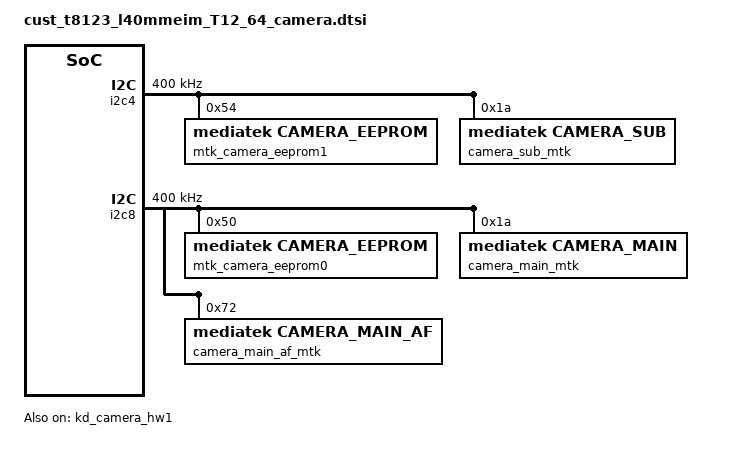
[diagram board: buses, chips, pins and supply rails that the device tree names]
// SPDX-License-Identifier: GPL-2.0
/* Copyright (c) 2020 MediaTek Inc. */
/* CAMERA GPIO standardization */
&pio {
	camera_pins_cam0_rst_0: camera_pins_cam0_rst_0 {
		pins_cmd_dat {
			pinmux = <PINMUX_GPIO20__FUNC_GPIO20>;
			slew-rate = <1>;
			output-low;
		};
	};
	camera_pins_cam0_rst_1: camera_pins_cam0_rst_1 {
		pins_cmd_dat {
			pinmux = <PINMUX_GPIO20__FUNC_GPIO20>;
			slew-rate = <1>;
			output-high;
		};
	};
	camera_pins_cam0_pnd_0: camera_pins_cam0_pnd_0 {
		pins_cmd_dat {
			pinmux = <PINMUX_GPIO15__FUNC_GPIO15>;
			slew-rate = <1>;
			output-low;
		};
	};
	camera_pins_cam0_pnd_1: camera_pins_cam0_pnd_1 {
		pins_cmd_dat {
			pinmux = <PINMUX_GPIO15__FUNC_GPIO15>;
			slew-rate = <1>;
			output-high;
		};
	};
	camera_pins_cam0_vcama_0: camera_pins_cam0_vcama_0 {
		pins_cmd_dat {
			pinmux = <PINMUX_GPIO151__FUNC_GPIO151>;
			slew-rate = <1>;
			output-low;
		};
	};
	camera_pins_cam0_vcama_1: camera_pins_cam0_vcama_1 {
		pins_cmd_dat {
			pinmux = <PINMUX_GPIO151__FUNC_GPIO151>;
			slew-rate = <1>;
			output-high;
		};
	};
	camera_pins_cam0_vcamd_0: camera_pins_cam0_vcamd_0 {
		pins_cmd_dat {
			pinmux = <PINMUX_GPIO157__FUNC_GPIO157>;
			slew-rate = <1>;
			output-low;
		};
	};
	camera_pins_cam0_vcamd_1: camera_pins_cam0_vcamd_1 {
		pins_cmd_dat {
			pinmux = <PINMUX_GPIO157__FUNC_GPIO157>;
			slew-rate = <1>;
			output-high;
		};
	};
	camera_pins_cam0_vcamio_0: camera_pins_cam0_vcamio_0 {
		pins_cmd_dat {
			pinmux = <PINMUX_GPIO156__FUNC_GPIO156>;
			slew-rate = <1>;
			output-low;
		};
	};
	camera_pins_cam0_vcamio_1: camera_pins_cam0_vcamio_1 {
		pins_cmd_dat {
			pinmux = <PINMUX_GPIO156__FUNC_GPIO156>;
			slew-rate = <1>;
			output-high;
		};
	};
	camera_pins_cam1_rst_0: camera_pins_cam1_rst_0 {
		pins_cmd_dat {
			pinmux = <PINMUX_GPIO16__FUNC_GPIO16>;
			slew-rate = <1>;
			output-low;
		};
	};
	camera_pins_cam1_rst_1: camera_pins_cam1_rst_1 {
		pins_cmd_dat {
			pinmux = <PINMUX_GPIO16__FUNC_GPIO16>;
			slew-rate = <1>;
			output-high;
		};
	};
	camera_pins_cam1_pnd_0: camera_pins_cam1_pnd_0 {
		pins_cmd_dat {
			pinmux = <PINMUX_GPIO19__FUNC_GPIO19>;
			slew-rate = <1>;
			output-low;
		};
	};
	camera_pins_cam1_pnd_1: camera_pins_cam1_pnd_1 {
		pins_cmd_dat {
			pinmux = <PINMUX_GPIO19__FUNC_GPIO19>;
			slew-rate = <1>;
			output-high;
		};
	};
	camera_pins_cam1_vcama_0: camera_pins_cam1_vcama_0 {
		pins_cmd_dat {
			pinmux = <PINMUX_GPIO151__FUNC_GPIO151>;
			slew-rate = <1>;
			output-low;
		};
	};
	camera_pins_cam1_vcama_1: camera_pins_cam1_vcama_1 {
		pins_cmd_dat {
			pinmux = <PINMUX_GPIO151__FUNC_GPIO151>;
			slew-rate = <1>;
			output-high;
		};
	};
	camera_pins_cam1_vcamd_0: camera_pins_cam1_vcamd_0 {
		pins_cmd_dat {
			pinmux = <PINMUX_GPIO158__FUNC_GPIO158>;
			slew-rate = <1>;
			output-low;
		};
	};
	camera_pins_cam1_vcamd_1: camera_pins_cam1_vcamd_1 {
		pins_cmd_dat {
			pinmux = <PINMUX_GPIO158__FUNC_GPIO158>;
			slew-rate = <1>;
			output-high;
		};
	};
	camera_pins_cam1_vcamio_0: camera_pins_cam1_vcamio_0 {
		pins_cmd_dat {
			pinmux = <PINMUX_GPIO156__FUNC_GPIO156>;
			slew-rate = <1>;
			output-low;
		};
	};
	camera_pins_cam1_vcamio_1: camera_pins_cam1_vcamio_1 {
		pins_cmd_dat {
			pinmux = <PINMUX_GPIO156__FUNC_GPIO156>;
			slew-rate = <1>;
			output-high;
		};
	};
	camera_pins_cam0_mclk_off: camera_pins_cam0_mclk_off {
		pins_cmd_dat {
			pinmux = <PINMUX_GPIO128__FUNC_GPIO128>;
			drive-strength = <1>;
		};
	};
	camera_pins_cam0_mclk_2ma: camera_pins_cam0_mclk_2ma {
		pins_cmd_dat {
			pinmux = <PINMUX_GPIO128__FUNC_CMMCLK2>;
			drive-strength = <0>;
		};
	};
	camera_pins_cam0_mclk_4ma: camera_pins_cam0_mclk_4ma {
		pins_cmd_dat {
			pinmux = <PINMUX_GPIO128__FUNC_CMMCLK2>;
			drive-strength = <1>;
		};
	};
	camera_pins_cam0_mclk_6ma: camera_pins_cam0_mclk_6ma {
		pins_cmd_dat {
			pinmux = <PINMUX_GPIO128__FUNC_CMMCLK2>;
			drive-strength = <2>;
		};
	};
	camera_pins_cam0_mclk_8ma: camera_pins_cam0_mclk_8ma {
		pins_cmd_dat {
			pinmux = <PINMUX_GPIO128__FUNC_CMMCLK2>;
			drive-strength = <3>;
		};
	};
	camera_pins_cam1_mclk_off: camera_pins_cam1_mclk_off {
		pins_cmd_dat {
			pinmux = <PINMUX_GPIO126__FUNC_GPIO126>;
			drive-strength = <1>;
		};
	};
	camera_pins_cam1_mclk_2ma: camera_pins_cam1_mclk_2ma {
		pins_cmd_dat {
			pinmux = <PINMUX_GPIO126__FUNC_CMMCLK0>;
			drive-strength = <0>;
		};
	};
	camera_pins_cam1_mclk_4ma: camera_pins_cam1_mclk_4ma {
		pins_cmd_dat {
			pinmux = <PINMUX_GPIO126__FUNC_CMMCLK0>;
			drive-strength = <1>;
		};
	};
	camera_pins_cam1_mclk_6ma: camera_pins_cam1_mclk_6ma {
		pins_cmd_dat {
			pinmux = <PINMUX_GPIO126__FUNC_CMMCLK0>;
			drive-strength = <2>;
		};
	};
	camera_pins_cam1_mclk_8ma: camera_pins_cam1_mclk_8ma {
		pins_cmd_dat {
			pinmux = <PINMUX_GPIO126__FUNC_CMMCLK0>;
			drive-strength = <3>;
		};
	};
	camera_pins_default: camdefault {
	};
};
&kd_camera_hw1 {
	pinctrl-names = "default",
			"cam0_rst0", "cam0_rst1",
			"cam0_pnd0", "cam0_pnd1",
			"cam1_rst0", "cam1_rst1",
			"cam1_pnd0", "cam1_pnd1",
			"cam0_mclk_off",
			"cam0_mclk_2mA", "cam0_mclk_4mA",
			"cam0_mclk_6mA", "cam0_mclk_8mA",
			"cam1_mclk_off",
			"cam1_mclk_2mA", "cam1_mclk_4mA",
			"cam1_mclk_6mA", "cam1_mclk_8mA",
			"cam0_ldo_vcama_0", "cam0_ldo_vcama_1",
			"cam0_ldo_vcamd_0", "cam0_ldo_vcamd_1",
			"cam0_ldo_vcamio_0", "cam0_ldo_vcamio_1",
			"cam1_ldo_vcama_0", "cam1_ldo_vcama_1",
			"cam1_ldo_vcamd_0", "cam1_ldo_vcamd_1",
			"cam1_ldo_vcamio_0", "cam1_ldo_vcamio_1";

	pinctrl-0 = <&camera_pins_default>;
	pinctrl-1 = <&camera_pins_cam0_rst_0>;
	pinctrl-2 = <&camera_pins_cam0_rst_1>;
	pinctrl-3 = <&camera_pins_cam0_pnd_0>;
	pinctrl-4 = <&camera_pins_cam0_pnd_1>;
	pinctrl-5 = <&camera_pins_cam1_rst_0>;
	pinctrl-6 = <&camera_pins_cam1_rst_1>;
	pinctrl-7 = <&camera_pins_cam1_pnd_0>;
	pinctrl-8 = <&camera_pins_cam1_pnd_1>;
	pinctrl-9 = <&camera_pins_cam0_mclk_off>;
	pinctrl-10 = <&camera_pins_cam0_mclk_2ma>;
	pinctrl-11 = <&camera_pins_cam0_mclk_4ma>;
	pinctrl-12 = <&camera_pins_cam0_mclk_6ma>;
	pinctrl-13 = <&camera_pins_cam0_mclk_8ma>;
	pinctrl-14 = <&camera_pins_cam1_mclk_off>;
	pinctrl-15 = <&camera_pins_cam1_mclk_2ma>;
	pinctrl-16 = <&camera_pins_cam1_mclk_4ma>;
	pinctrl-17 = <&camera_pins_cam1_mclk_6ma>;
	pinctrl-18 = <&camera_pins_cam1_mclk_8ma>;
	pinctrl-19 = <&camera_pins_cam0_vcama_0>;
	pinctrl-20 = <&camera_pins_cam0_vcama_1>;
	pinctrl-21 = <&camera_pins_cam0_vcamd_0>;
	pinctrl-22 = <&camera_pins_cam0_vcamd_1>;
	pinctrl-23 = <&camera_pins_cam0_vcamio_0>;
	pinctrl-24 = <&camera_pins_cam0_vcamio_1>;
	pinctrl-25 = <&camera_pins_cam1_vcama_0>;
	pinctrl-26 = <&camera_pins_cam1_vcama_1>;
	pinctrl-27 = <&camera_pins_cam1_vcamd_0>;
	pinctrl-28 = <&camera_pins_cam1_vcamd_1>;
	pinctrl-29 = <&camera_pins_cam1_vcamio_0>;
	pinctrl-30 = <&camera_pins_cam1_vcamio_1>;
	/* main (wide)*/
	/*cam0_vcama-supply = <&rt5133_ldo4>; */
	/*cam0_vcamio-supply = <&rt5133_ldo1>;*/
	/*cam0_vcamd-supply = <&rt5133_ldo8>; */
	/*cam0_vcama1-supply = <&rt5133_ldo5>;*/
	/*cam0_vcamaf-supply = <&rt5133_ldo3>;*/

	/* front*/
	/*cam1_vcama-supply = <&rt5133_ldo6>; */
	/*cam1_vcamio-supply = <&rt5133_ldo1>;*/
	/*cam1_vcamd-supply = <&rt5133_ldo7>; */
	/*cam1_vcama1-supply = <&rt5133_ldo5>;*/
	/*cam1_vcamaf-supply = <&rt5133_ldo2>;*/

	cam0_pin_mclk = "mclk";
	cam0_pin_rst = "gpio";
	cam0_pin_pdn = "gpio";
	cam0_pin_vcama = "gpio";
	cam0_pin_vcamio = "gpio";
	cam0_pin_vcamd = "gpio";
	//cam0_pin_vcama1 = "regulator";
	//cam0_pin_vcamaf = "regulator";	//afvdd from avdd

	cam1_pin_mclk = "mclk";
	cam1_pin_rst = "gpio";
	cam1_pin_pdn = "gpio";
	cam1_pin_vcama = "gpio";
	cam1_pin_vcamio = "gpio";
	cam1_pin_vcamd = "gpio";
	//cam1_pin_vcama1 = "regulator";

	cam0_enable_sensor = "ov13850main_mipi_raw";
	cam1_enable_sensor = "gc05a2front_mipi_raw";
	mtk_custom_project = "tb8781p2_64";
	status = "okay";
};
/* CAMERA GPIO end */

/* CAMERA EEPROM */
&i2c4 {
	status = "okay";
	clock-frequency = <400000>;
	#address-cells = <1>;
	#size-cells = <0>;

	mtk_camera_eeprom1:camera_eeprom1@54 {
		compatible = "mediatek,camera_eeprom";
		reg = <0x54>;
		status = "okay";
	};
	camera_sub_mtk:camera_sub@1a {
		compatible = "mediatek,camera_sub";
		#thermal-sensor-cells = <0>;
		reg = <0x1a>;
		status = "okay";
	};
};
&i2c8 {
	status = "okay";
	clock-frequency = <400000>;
	#address-cells = <1>;
	#size-cells = <0>;

	mtk_camera_eeprom0:camera_eeprom0@50 {
		compatible = "mediatek,camera_eeprom";
		reg = <0x50>;
		status = "okay";
	};
	camera_main_mtk:camera_main@1a {
		compatible = "mediatek,camera_main";
		#thermal-sensor-cells = <0>;
		reg = <0x1a>;
		status = "okay";
	};

	camera_main_af_mtk:camera_main_af@72 {
		compatible = "mediatek,camera_main_af";
		reg = <0x72>;
		status = "okay";
	};
};
/* CAMERA EEPROM end */

/* CAMERA TZ config */
&thermal_zones {
	camera_main: camera_main {
		polling-delay = <1000>; /* milliseconds */
		polling-delay-passive = <0>; /* milliseconds */
		thermal-sensors = <&camera_main_mtk>;
	};
	camera_sub: camera_sub {
		polling-delay = <1000>; /* milliseconds */
		polling-delay-passive = <0>; /* milliseconds */
		thermal-sensors = <&camera_sub_mtk>;
	};
};
/* CAMERA TZ config end */
